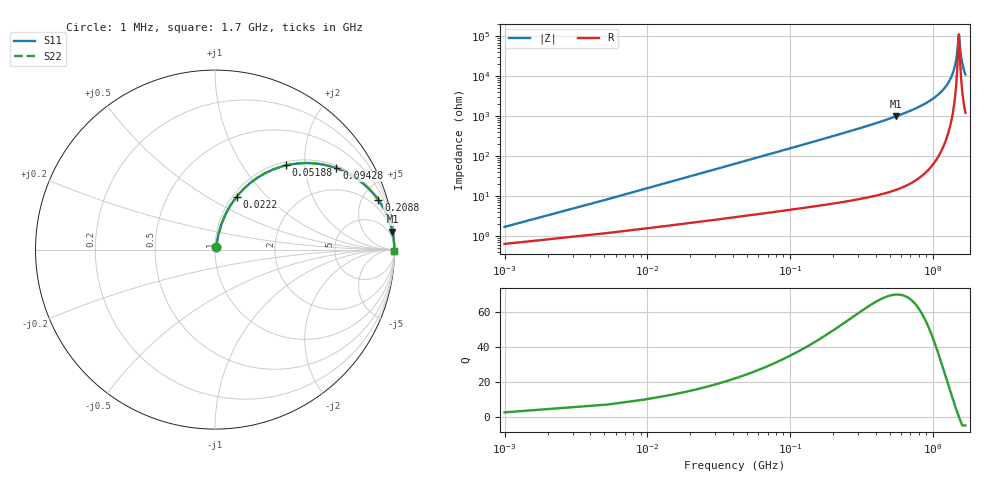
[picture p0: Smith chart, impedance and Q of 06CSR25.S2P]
! Coilcraft 0603CS-R25 Chip Inductor
! 1 August 2002
# MHZ S MA R 50
!Freq  MagS11  AngS11  MagS21  AngS21  MagS12  AngS12  MagS22  AngS22
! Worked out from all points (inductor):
!   402 points, 1 MHz to 1.7 GHz, reference 50 ohm
!   read as one part in series: L = 246 nH near 9.48 MHz
!   highest Q = 69.9 at 556.4 MHz (marker M1), where L = 283 nH
!   self-resonance near 1.527 GHz
!   S11 on the Smith chart (normalised r, x): 1 MHz: 1.01, +0.03; 22.2 MHz: 1.04, +0.69; 51.88 MHz: 1.06, +1.61; 94.28 MHz: 1.09, +2.93; 208.8 MHz: 1.13, +6.58; 1.7 GHz: open
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1  0.01656 67.2  0.9937 -0.9  0.9937 -0.9  0.01656 67.2
13.72  0.2047 73.5  0.962 -11.8  0.962 -11.8  0.2047 73.5
22.2  0.319 67.8  0.9277 -18.6  0.9277 -18.6  0.319 67.8
34.92  0.466 59.4  0.8619 -27.7  0.8619 -27.7  0.466 59.4
51.88  0.6143 49.8  0.7646 -37.9  0.7646 -37.9  0.6143 49.8
94.28  0.8145 33.8  0.5566 -54.5  0.5566 -54.5  0.8145 33.8
140.92  0.902 24.2  0.4105 -64.4  0.4105 -64.4  0.902 24.2
208.76  0.9515 16.8  0.2893 -72.0  0.2893 -72.0  0.9515 16.8
285.08  0.9733 12.3  0.2132 -76.7  0.2132 -76.7  0.9733 12.3
556.44  0.9935 5.8  0.1002 -83.4  0.1002 -83.4  0.9935 5.8
569.16  0.9939 5.6  0.09733 -83.6  0.09733 -83.6  0.9939 5.6
853.24  0.9977 3.0  0.05212 -86.0  0.05212 -86.0  0.9977 3.0
1137.32  0.9989 1.5  0.02543 -86.8  0.02543 -86.8  0.9989 1.5
1306.92  0.9991 0.8  0.01339 -85.8  0.01339 -85.8  0.9991 0.8
1417.16  0.9991 0.4  0.006526 -82.3  0.006526 -82.3  0.9991 0.4
1472.28  0.9991 0.2  0.003355 -75.0  0.003355 -75.0  0.9991 0.2
1518.92  0.9991 0.0  0.001069 -34.6  0.001069 -34.6  0.9991 0.0
1531.64  0.9991 -0.0  0.0008907 6.2  0.0008907 6.2  0.9991 -0.0
1569.8  0.9991 -0.1  0.002357 67.3  0.002357 67.3  0.9991 -0.1
1599.48  0.9991 -0.2  0.00387 76.0  0.00387 76.0  0.9991 -0.2
1646.12  0.999 -0.4  0.006263 80.9  0.006263 80.9  0.999 -0.4
1700  0.999 -0.5  0.008976 83.2  0.008976 83.2  0.999 -0.5
